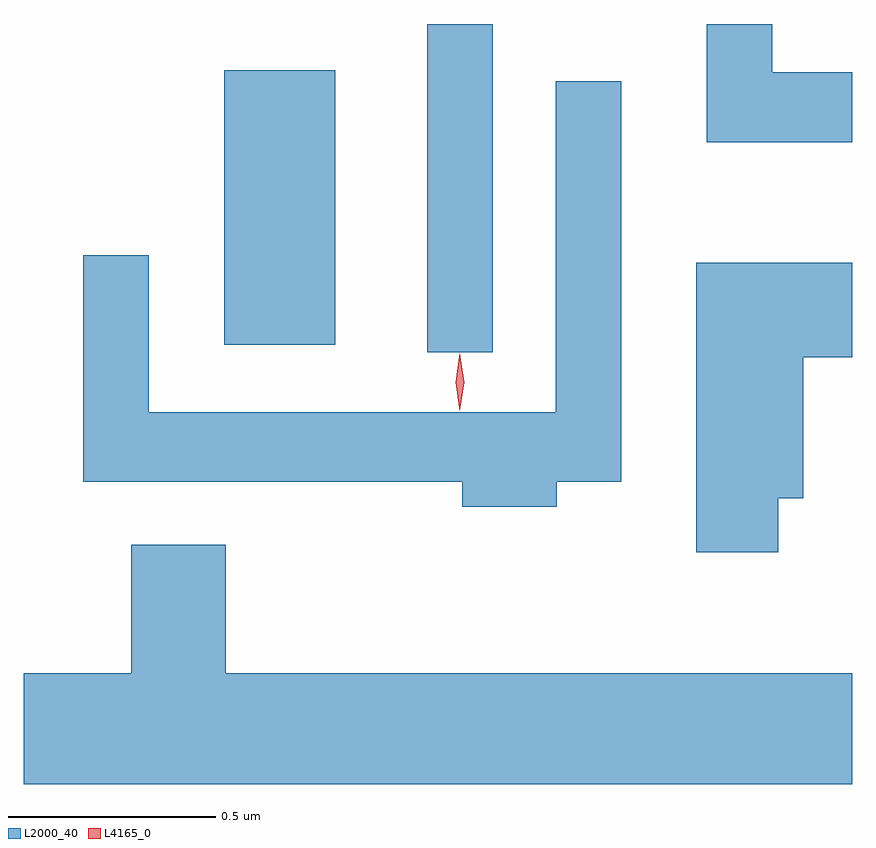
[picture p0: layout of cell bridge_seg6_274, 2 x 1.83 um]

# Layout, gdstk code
import gdstk
lib = gdstk.Library(unit=1e-6, precision=1e-09)
def R(c, l, rs):  # rectangles x0, y0, x1, y1
    for r in rs: c.add(gdstk.rectangle(r[:2], r[2:], *l))
def P(c, l, *ps):  # polygons
    for p in ps: c.add(gdstk.Polygon(p, *l))
L2000_40 = (2000, 40)
L4165_0 = (4165, 0)

bridge_seg6_274 = lib.new_cell('bridge_seg6_274')
R(bridge_seg6_274, L2000_40, [(1226.966,1584.378,1227.124,1585.171), (1226.476,1584.396,1226.744,1585.059)])
P(bridge_seg6_274, L2000_40, [(1227.992,1585.054),(1227.799,1585.054),(1227.799,1585.171),(1227.641,1585.171),(1227.641,1584.886),(1227.992,1584.886)],
  [(1227.279,1584.066),(1227.434,1584.066),(1227.434,1585.033),(1227.276,1585.033),(1227.276,1584.234),(1226.294,1584.234),(1226.294,1584.613),(1226.136,1584.613),(1226.136,1584.066),(1227.051,1584.066),(1227.051,1584.006),(1227.279,1584.006)],
  [(1227.814,1584.026),(1227.874,1584.026),(1227.874,1584.366),(1227.992,1584.366),(1227.992,1584.594),(1227.616,1584.594),(1227.616,1583.896),(1227.814,1583.896)],
  [(1227.992,1583.604),(1226.479,1583.604),(1226.479,1583.914),(1226.251,1583.914),(1226.251,1583.604),(1225.992,1583.604),(1225.992,1583.336),(1227.992,1583.336)])
P(bridge_seg6_274, L4165_0, [(1227.044,1584.237),(1227.035,1584.306),(1227.044,1584.376),(1227.045,1584.376),(1227.045,1584.376),(1227.055,1584.306),(1227.045,1584.237),(1227.045,1584.237)],
  [(1227.045,1584.239),(1227.044,1584.24),(1227.035,1584.306),(1227.044,1584.372),(1227.045,1584.373),(1227.045,1584.372),(1227.055,1584.306),(1227.045,1584.24)])

lib.write_gds('bridge_seg6_274.gds')
